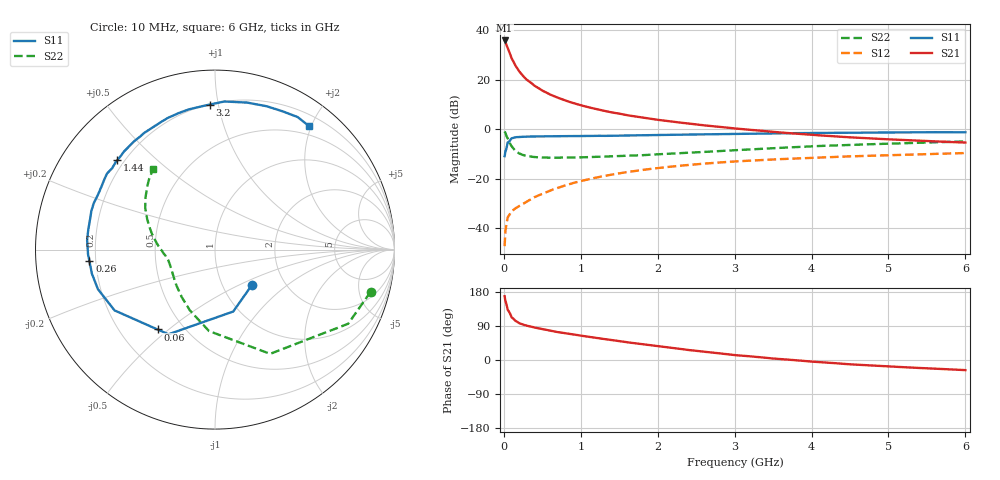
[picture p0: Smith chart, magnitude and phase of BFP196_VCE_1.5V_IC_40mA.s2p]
! Infineon Technologies  Discrete & RF Semiconductors
! BFP196
! VCE = 1.5 V,  IC =  40mA
! Common Emitter S-Parameters:  Jan 2016
# GHz  S  MA  R  50
!  f  S11  S21  S12  S22
! GHz  MAG  ANG  MAG  ANG  MAG  ANG  MAG  ANG
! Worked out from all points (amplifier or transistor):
!   210 points, 10 MHz to 6 GHz, reference 50 ohm
!   highest |S21| = 35.9 dB at 10 MHz (marker M1)
!   |S21| within 3 dB of that: start of sweep to 49.51 MHz
!   unconditionally stable (mu >= 1): 471.9 MHz to 4.877 GHz
!   at 185 MHz: K = 0.68, MSG = 27.8 dB, |S12| = -31.4 dB
!   at 1.52 GHz: K = 1.09, MAG = 10.1 dB, |S12| = -17.8 dB
!   at 6 GHz: K = 1.00, MSG = 2.1 dB, |S12| = -9.7 dB
!   S11 on the Smith chart (normalised r, x): 10 MHz: 1.37, -0.59; 60 MHz: 0.36, -0.46; 260 MHz: 0.18, -0.04; 1.44 GHz: 0.17, +0.38; 3.2 GHz: 0.20, +0.94; 6 GHz: 0.36, +1.97
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0.01  0.2849 -43.6  62.29 168.3  0.0043 78.8  0.8983 -15.2
0.02  0.3596 -73.6  58.2 156.4  0.0085 69.6  0.8492 -29.1
0.05  0.5385 -118.8  43.93 132.5  0.0163 53.4  0.6572 -62.1
0.06  0.548 -125.7  40.34 129.9  0.0174 51.5  0.6048 -66.7
0.1  0.6541 -148.8  27.39 112.7  0.0218 45.7  0.4551 -94.2
0.15  0.6884 -161.3  19.27 103.2  0.025 45.8  0.3659 -112.6
0.2  0.6989 -168.9  14.77 97.3  0.0278 48.2  0.3233 -124.9
0.24  0.7004 -173.0  12.42 94.2  0.0304 50.1  0.3035 -132.1
0.26  0.7024 -174.8  11.46 92.7  0.0316 51.2  0.2967 -135.3
0.3  0.7078 -177.8  9.949 90.3  0.0342 53.7  0.2873 -140.3
0.4  0.7143 175.9  7.539 85.5  0.0422 56.7  0.2729 -149.3
0.5  0.7147 171.4  6.031 81.5  0.0492 58.8  0.267 -155.2
0.6  0.7155 166.8  5.035 77.5  0.0572 60.1  0.2648 -159.3
0.7  0.7219 162.6  4.334 73.6  0.0649 60.5  0.2653 -162.4
1.02  0.7234 151.0  2.991 63.7  0.0906 59.2  0.2693 -168.9
1.44  0.7375 137.6  2.138 51.6  0.1233 54.9  0.2835 -174.7
2.02  0.7606 120.8  1.533 36.1  0.1647 46.9  0.3111 177.5
3.1  0.8042 94.1  1.002 11.4  0.2265 31.2  0.3817 161.8
3.2  0.8085 92.1  0.97 9.7  0.2308 29.8  0.389 160.3
4.1  0.8394 76.2  0.75 -5.5  0.2671 18.6  0.4568 148.3
5.1  0.8591 62.9  0.613 -18.0  0.301 7.4  0.5146 137.3
6  0.865 52.6  0.536 -26.7  0.3292 -2.7  0.5646 127.7
